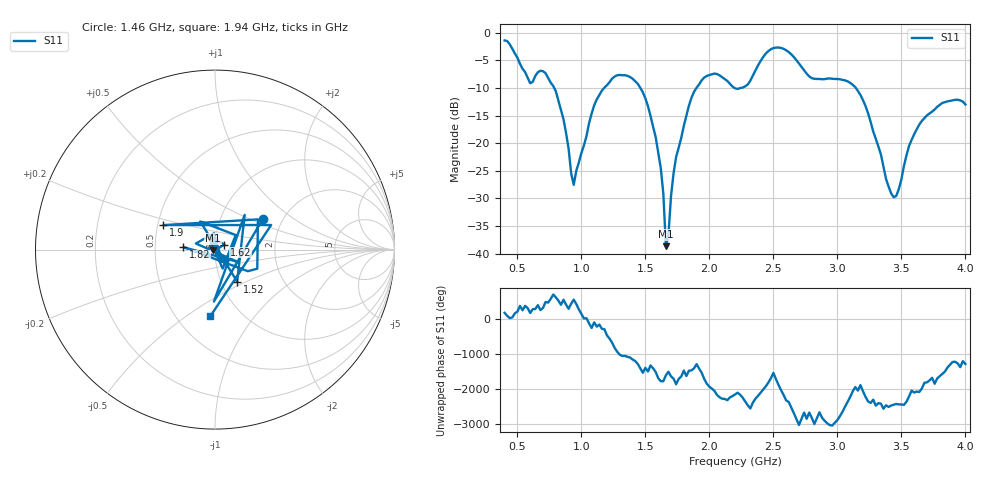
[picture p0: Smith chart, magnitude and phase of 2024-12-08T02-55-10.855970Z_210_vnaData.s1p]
!Created with skrf (http://scikit-rf.org).
# Hz S RI R 50.0
!freq ReS11 ImS11
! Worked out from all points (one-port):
!   181 points, 400 MHz to 4 GHz, reference 50 ohm
!   lowest |S11| = -38.7 dB at 1.66 GHz (marker M1), VSWR 1.02, Z = 48.9 - j0.298 ohm
!   |S11| at or under -10 dB: 787.9 MHz to 1.177 GHz (389.2 MHz wide, 39.6 % of centre); 1.461 GHz to 1.898 GHz (437.3 MHz wide, 26 % of centre); 3.145 GHz to end of sweep (the widest 3 of 4)
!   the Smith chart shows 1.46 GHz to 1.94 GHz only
!   S11 on the Smith chart (normalised r, x): 1.46 GHz: 1.59, +0.61; 1.52 GHz: 1.19, -0.45; 1.62 GHz: 1.11, +0.06; 1.82 GHz: 0.70, +0.02; 1.9 GHz: 0.54, +0.16; 1.94 GHz: 0.72, -0.62
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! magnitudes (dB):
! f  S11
! 400 MHz  -1.4
! 600 MHz  -9.1
! 720 MHz  -7.3
! 860 MHz  -15.6
! 940 MHz  -27.5
! 1.1 GHz  -13.1
! 1.3 GHz  -7.6
! 1.46 GHz  -10.0
! 1.52 GHz  -13.3
! 1.62 GHz  -24.5
! 1.64 GHz  -29.1
! 1.66 GHz  -38.7
! 1.68 GHz  -36.7
! 1.72 GHz  -25.4
! 1.76 GHz  -20.8
! 1.82 GHz  -15.1
! 1.9 GHz  -9.9
! 1.94 GHz  -8.6
! 2.2 GHz  -10.0
! 2.48 GHz  -3.0
! 2.66 GHz  -4.4
! 2.8 GHz  -8.2
! 3.1 GHz  -9.1
! 3.22 GHz  -13.3
! 3.44 GHz  -29.8
! 3.56 GHz  -20.5
! 3.82 GHz  -12.7
! 4 GHz  -13.0
